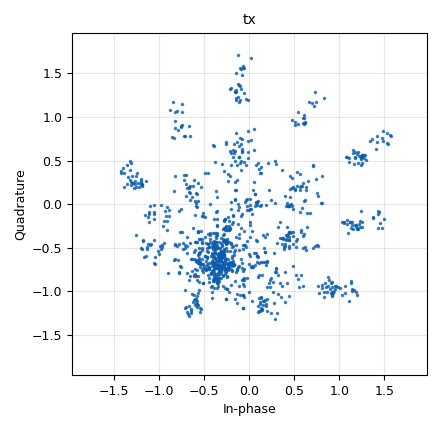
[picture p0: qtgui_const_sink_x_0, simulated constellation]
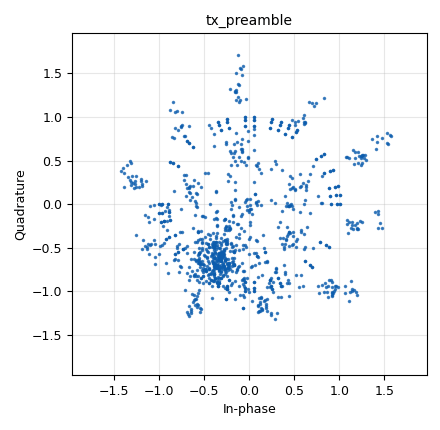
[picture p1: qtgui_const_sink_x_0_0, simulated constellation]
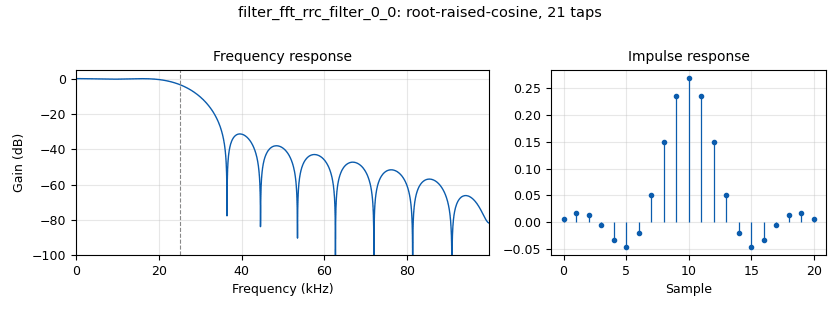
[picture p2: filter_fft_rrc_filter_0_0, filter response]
options:
  parameters:
    author: Junchen Zhu
    generate_options: qt_gui
    id: txrx
    output_language: python
    title: Not titled yet
  states: {}

blocks:
- name: RF_gain
  id: variable
  parameters:
    value: '50'
  states: {}
- name: baud_rate
  id: variable
  parameters:
    value: '50000'
  states: {}
- name: center_freq
  id: variable
  parameters:
    value: 870e6
  states: {}
- name: encoder
  id: variable_constellation
  parameters:
    const_points: |
      [(-0.2957-0.5378j), (-0.6068-1.1345j), (0.5192+0.2398j), (1.1495+0.5140j), (-0.7429+0.8150j), (-0.0184-0.0006j), (0.5418+0.9552j), (1.1049-0.2303j), (-0.5950+0.0842j), (-0.0785+0.5643j), (0.3829-0.4240j), (0.1240-1.1206j), (-1.2293+0.2383j), (-0.1185+1.2399j), (0.8467-0.9371j), (-1.0559-0.4968j)]
    dims: '1'
    normalization: digital.constellation.AMPLITUDE_NORMALIZATION
    precision: '8'
    rot_sym: '4'
    sym_map: '[0, 1, 2, 3, 4, 5, 6, 7, 8, 9, 10, 11, 12, 13, 14, 15]'
    type: calcdist
  states: {}
- name: samp_rate
  id: variable
  parameters:
    value: baud_rate*4
  states: {}
- name: analog_random_source_x_0
  id: analog_random_source_x
  parameters:
    max: '16'
    min: '0'
    num_samps: '1000'
    repeat: 'False'
    type: byte
  states: {}
- name: blocks_file_sink_0
  id: blocks_file_sink
  parameters:
    file: C:\Users\Junchen Zhu\Downloads\Auto-Encoder-in-SIMO-System\file\rx.dat
    type: complex
  states: {}
- name: blocks_file_sink_0_0
  id: blocks_file_sink
  parameters:
    file: C:\Users\Junchen Zhu\Downloads\Auto-Encoder-in-SIMO-System\file\tx.dat
    type: complex
  states: {}
- name: digital_constellation_modulator_0
  id: digital_constellation_modulator
  parameters:
    constellation: encoder
    differential: 'False'
    excess_bw: '0.35'
    samples_per_symbol: '4'
  states: {}
- name: digital_symbol_sync_xx_0
  id: digital_symbol_sync_xx
  parameters:
    constellation: encoder
    damping: '0.707'
    loop_bw: '0.045'
    max_dev: '1.5'
    osps: '1'
    resamp_type: digital.IR_MMSE_8TAP
    sps: '4'
    ted_gain: '1.0'
    ted_type: digital.TED_MUELLER_AND_MULLER
    type: cc
  states: {}
- name: epy_block_0
  id: epy_block
  parameters:
    _source_code: |
      import numpy as np
      from gnuradio import gr

      def generate_zadoff_chu_sequence(root, length):
          """Generates a Zadoff-Chu sequence with specified root and length."""
          n = np.arange(length)
          zc_seq = np.exp(-1j * np.pi * root * n * (n + 1) / length)
          return zc_seq

      class blk(gr.sync_block):  # other base classes are basic_block, decim_block, interp_block
          """Embedded Python Block example - Add a Zadoff-Chu sequence with the same power as input to the beginning"""

          def __init__(self, seq_length=64, root=1):  # only default arguments here
              """arguments to this function show up as parameters in GRC"""
              gr.sync_block.__init__(
                  self,
                  name='Add Zadoff-chu Sequence',   # will show up in GRC
                  in_sig=[np.complex64],
                  out_sig=[np.complex64]
              )
              self.seq_length = seq_length
              self.root = root

          def work(self, input_items, output_items):
              """Calculate input signal power, generate Zadoff-Chu sequence, and prepend it to the input signal"""
              # Calculate the average power of the input signal
              input_signal = input_items[0]
              power = np.mean(np.abs(input_signal) ** 2)
              
              # Generate a Zadoff-Chu sequence
              zc_sequence = generate_zadoff_chu_sequence(self.root, self.seq_length)
              
              # Scale the Zadoff-Chu sequence to match the power of the input signal
              current_power = np.mean(np.abs(zc_sequence) ** 2)
              scaling_factor = np.sqrt(power / current_power)
              zc_sequence = zc_sequence * scaling_factor
              
              # Prepend the Zadoff-Chu sequence to the input signal
              output_signal = np.concatenate([zc_sequence, input_signal])
              
              # Ensure the output length matches the expected length
              output_items[0][:] = output_signal[:len(output_items[0])]
              return len(output_items[0])
    root: '5'
    seq_length: '62'
  states: {}
- name: filter_fft_rrc_filter_0_0
  id: filter_fft_rrc_filter
  parameters:
    alpha: '0.35'
    decim: '1'
    gain: '1'
    ntaps: '20'
    samp_rate: samp_rate
    sym_rate: baud_rate
    type: ccc
  states: {}
- name: qtgui_const_sink_x_0
  id: qtgui_const_sink_x
  parameters:
    autoscale: 'True'
    grid: 'True'
    name: '"tx"'
    size: '1024'
    type: complex
  states: {}
- name: qtgui_const_sink_x_0_0
  id: qtgui_const_sink_x
  parameters:
    autoscale: 'True'
    grid: 'True'
    name: '"tx_preamble"'
    size: '1024'
    type: complex
  states: {}
- name: uhd_usrp_sink_0
  id: uhd_usrp_sink
  parameters:
    ant0: '"TX/RX"'
    center_freq0: center_freq
    dev_addr: '"serial=31DB53A"'
    gain0: RF_gain
    samp_rate: baud_rate
    sync: sync
    type: fc32
  states: {}
- name: uhd_usrp_source_0
  id: uhd_usrp_source
  parameters:
    ant0: '"RX2"'
    center_freq0: center_freq
    dev_addr: '"serial=31DB53A"'
    gain0: RF_gain
    samp_rate: baud_rate
    sync: sync
    type: fc32
  states: {}

connections:
- [analog_random_source_x_0, '0', digital_constellation_modulator_0, '0']
- [digital_constellation_modulator_0, '0', epy_block_0, '0']
- [digital_constellation_modulator_0, '0', qtgui_const_sink_x_0, '0']
- [digital_symbol_sync_xx_0, '0', blocks_file_sink_0, '0']
- [epy_block_0, '0', blocks_file_sink_0_0, '0']
- [epy_block_0, '0', qtgui_const_sink_x_0_0, '0']
- [epy_block_0, '0', uhd_usrp_sink_0, '0']
- [filter_fft_rrc_filter_0_0, '0', digital_symbol_sync_xx_0, '0']
- [uhd_usrp_source_0, '0', filter_fft_rrc_filter_0_0, '0']

metadata:
  file_format: 1
  grc_version: 3.10.10.0
